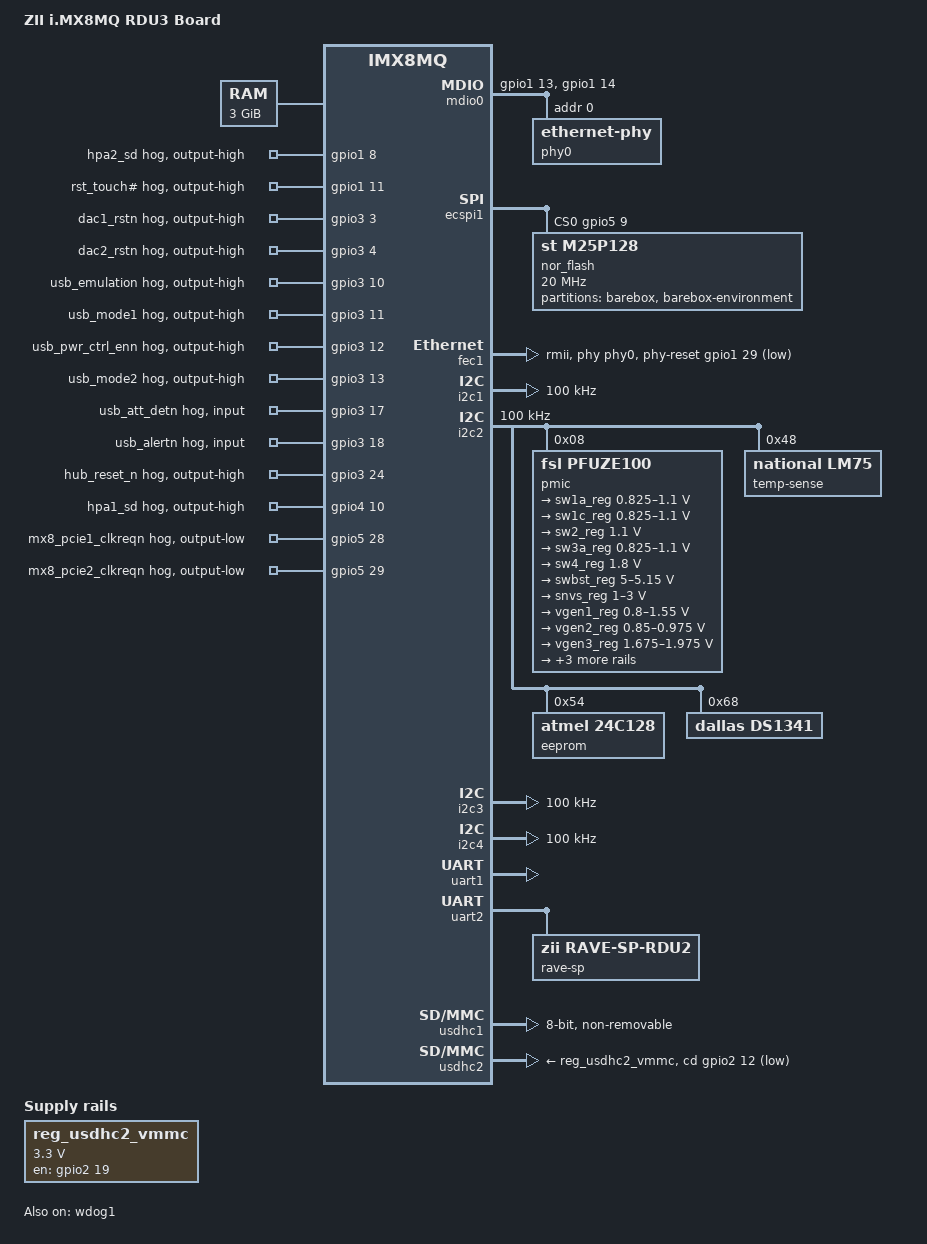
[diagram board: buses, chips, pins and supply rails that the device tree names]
// SPDX-License-Identifier: (GPL-2.0 OR MIT)
/*
 * Copyright 2017 NXP
 * Copyright (C) 2017 Pengutronix, Lucas Stach <kernel@pengutronix.de>
 */

/dts-v1/;

#include <arm64/freescale/imx8mq.dtsi>

#include "imx8mq.dtsi"

/ {
	model = "ZII i.MX8MQ RDU3 Board";
	compatible = "zii,imx8mq-rdu3", "fsl,imx8mq";

	chosen {
		stdout-path = &uart1;

		environment {
			compatible = "barebox,environment";
			device-path = &nor_flash, "partname:barebox-environment";
		};
	};

	memory@40000000 {
		device_type = "memory";
		reg = <0x00000000 0x40000000 0 0xc0000000>;
	};

	mdio0: bitbang-mdio {
		compatible = "virtual,mdio-gpio";
		pinctrl-names = "default";
		pinctrl-0 = <&pinctrl_bitbang_mdc>, <&pinctrl_bitbang_mdio>;
		gpios = <&gpio1 13 GPIO_ACTIVE_HIGH>, /* MDC */
			<&gpio1 14 GPIO_ACTIVE_HIGH>; /* MDIO */
		#address-cells = <1>;
		#size-cells = <0>;

		phy0: ethernet-phy@0 {
			reg = <0>;
			device_type = "ethernet-phy";
		};
	};

	reg_usdhc2_vmmc: regulator-vsd-3v3 {
		pinctrl-names = "default";
		pinctrl-0 = <&pinctrl_reg_usdhc2>;
		compatible = "regulator-fixed";
		regulator-name = "VSD_3V3";
		regulator-min-microvolt = <3300000>;
		regulator-max-microvolt = <3300000>;
		gpio = <&gpio2 19 GPIO_ACTIVE_HIGH>;
		enable-active-high;
	};
};

&ecspi1 {
	pinctrl-names = "default";
	pinctrl-0 = <&pinctrl_ecspi1_cs>, <&pinctrl_ecspi1_out>,
		    <&pinctrl_ecspi1_in>;
	cs-gpios = <&gpio5 9 GPIO_ACTIVE_HIGH>;
	status = "okay";
	#address-cells = <1>;
	#size-cells = <0>;

	nor_flash: flash@0 {
		compatible = "st,m25p128", "jedec,spi-nor";
		spi-max-frequency = <20000000>;
		reg = <0>;

		#address-cells = <1>;
		#size-cells = <1>;

		partition@0 {
			label = "barebox";
			reg = <0x0 0xc0000>;
		};

		partition@c0000 {
			label = "barebox-environment";
			reg = <0xc0000 0x40000>;
		};
	};
};

&fec1 {
	pinctrl-names = "default";
	pinctrl-0 = <&pinctrl_fec1_mdc>, <&pinctrl_fec1_mdio>,
	            <&pinctrl_fec1_data_tx>, <&pinctrl_fec1_data_rx>,
		    <&pinctrl_fec1_phy_reset>;

	phy-handle = <&phy0>;
	phy-mode = "rmii";
	phy-reset-gpios = <&gpio1 29 GPIO_ACTIVE_LOW>;
	status = "okay";
};

&gpio1 {
	hpa2-sd {
		gpio-hog;
		gpios = <8 GPIO_ACTIVE_HIGH>;
		output-high;
		line-name = "hpa2_sd";
	};

	rst-touch {
		gpio-hog;
		gpios = <11 GPIO_ACTIVE_HIGH>;
		output-high;
		line-name = "rst_touch#";
	};
};

&gpio3 {
	dac1-rstn {
		gpio-hog;
		gpios = <3 GPIO_ACTIVE_HIGH>;
		output-high;
		line-name = "dac1_rstn";
	};

	dac2-rstn {
		gpio-hog;
		gpios = <4 GPIO_ACTIVE_HIGH>;
		output-high;
		line-name = "dac2_rstn";
	};

	usb-emulation {
		gpio-hog;
		gpios = <10 GPIO_ACTIVE_HIGH>;
		output-high;
		line-name = "usb_emulation";
	};

	usb-mode1 {
		gpio-hog;
		gpios = <11 GPIO_ACTIVE_HIGH>;
		output-high;
		line-name = "usb_mode1";
	};

	usb-pwr-ctrl-enn {
		gpio-hog;
		gpios = <12 GPIO_ACTIVE_HIGH>;
		output-high;
		line-name = "usb_pwr_ctrl_enn";
	};

	usb-mode2 {
		gpio-hog;
		gpios = <13 GPIO_ACTIVE_HIGH>;
		output-high;
		line-name = "usb_mode2";
	};

	usb-att-detn {
		gpio-hog;
		gpios = <17 GPIO_ACTIVE_HIGH>;
		input;
		line-name = "usb_att_detn";
	};

	usb-alert {
		gpio-hog;
		gpios = <18 GPIO_ACTIVE_HIGH>;
		input;
		line-name = "usb_alertn";
	};

	hub-reset {
		gpio-hog;
		gpios = <24 GPIO_ACTIVE_HIGH>;
		input;
		output-high;
		line-name = "hub_reset_n";
	};
};

&gpio4 {
	hpa1-sd {
		gpio-hog;
		gpios = <10 GPIO_ACTIVE_HIGH>;
		output-high;
		line-name = "hpa1_sd";
	};
};

&gpio5 {
	mx8-pcie1-clkreqn {
		gpio-hog;
		gpios = <28 GPIO_ACTIVE_HIGH>;
		output-low;
		line-name = "mx8_pcie1_clkreqn";
	};

	mx8-pcie2-clkreqn {
		gpio-hog;
		gpios = <29 GPIO_ACTIVE_HIGH>;
		output-low;
		line-name = "mx8_pcie2_clkreqn";
	};
};

&i2c1 {
	clock-frequency = <100000>;
	pinctrl-names = "default";
	pinctrl-0 = <&pinctrl_i2c1>;
	status = "okay";
};

&i2c2 {
	clock-frequency = <100000>;
	pinctrl-names = "default";
	pinctrl-0 = <&pinctrl_i2c2>;
	status = "okay";

	pmic@8 {
		compatible = "fsl,pfuze100";
		reg = <0x8>;

		regulators {
			sw1a_reg: sw1ab {
				regulator-min-microvolt = <825000>;
				regulator-max-microvolt = <1100000>;
			};

			sw1c_reg: sw1c {
				regulator-min-microvolt = <825000>;
				regulator-max-microvolt = <1100000>;
			};

			sw2_reg: sw2 {
				regulator-min-microvolt = <1100000>;
				regulator-max-microvolt = <1100000>;
				regulator-always-on;
			};

			sw3a_reg: sw3ab {
				regulator-min-microvolt = <825000>;
				regulator-max-microvolt = <1100000>;
				regulator-always-on;
			};

			sw4_reg: sw4 {
				regulator-min-microvolt = <1800000>;
				regulator-max-microvolt = <1800000>;
				regulator-always-on;
			};

			swbst_reg: swbst {
				regulator-min-microvolt = <5000000>;
				regulator-max-microvolt = <5150000>;
			};

			snvs_reg: vsnvs {
				regulator-min-microvolt = <1000000>;
				regulator-max-microvolt = <3000000>;
				regulator-always-on;
			};

			vref_reg: vrefddr {
				regulator-always-on;
			};

			vgen1_reg: vgen1 {
				regulator-min-microvolt = <800000>;
				regulator-max-microvolt = <1550000>;
			};

			vgen2_reg: vgen2 {
				regulator-min-microvolt = <850000>;
				regulator-max-microvolt = <975000>;
				regulator-always-on;
			};

			vgen3_reg: vgen3 {
				regulator-min-microvolt = <1675000>;
				regulator-max-microvolt = <1975000>;
				regulator-always-on;
			};

			vgen4_reg: vgen4 {
				regulator-min-microvolt = <1625000>;
				regulator-max-microvolt = <1875000>;
				regulator-always-on;
			};

			vgen5_reg: vgen5 {
				regulator-min-microvolt = <3075000>;
				regulator-max-microvolt = <3625000>;
				regulator-always-on;
			};

			vgen6_reg: vgen6 {
				regulator-min-microvolt = <1800000>;
				regulator-max-microvolt = <3300000>;
			};
		};
	};

	temp-sense@48 {
		compatible = "national,lm75";
		reg = <0x48>;
	};

	eeprom@54 {
		compatible = "atmel,24c128";
		reg = <0x54>;
	};

	ds1341: rtc@68 {
		compatible = "dallas,ds1341";
		reg = <0x68>;
	};
};

&i2c3 {
	clock-frequency = <100000>;
	pinctrl-names = "default";
	pinctrl-0 = <&pinctrl_i2c3>;
	status = "okay";
};

&i2c4 {
	clock-frequency = <100000>;
	pinctrl-names = "default";
	pinctrl-0 = <&pinctrl_i2c4>;
	status = "okay";
};

&ocotp {
	barebox,provide-mac-address = <&fec1 0x640>;
};

&uart1 {
	pinctrl-names = "default";
	pinctrl-0 = <&pinctrl_uart1>;
	status = "okay";
};

&uart2 {
	pinctrl-names = "default";
	pinctrl-0 = <&pinctrl_uart2>;
	status = "okay";

	rave-sp {
		compatible = "zii,rave-sp-rdu2";
		current-speed = <1000000>;
		#address-cells = <1>;
		#size-cells = <1>;

		watchdog {
			compatible = "zii,rave-sp-watchdog";
		};

		main_eeprom: eeprom@a4 {
			compatible = "zii,rave-sp-eeprom";
			reg = <0xa4 0x4000>;
			#address-cells = <1>;
			#size-cells = <1>;
			zii,eeprom-name = "main-eeprom";
		};
	};
};

&usdhc1 {
	pinctrl-names = "default", "state_100mhz", "state_200mhz";
	pinctrl-0 = <&pinctrl_usdhc1_cd_reset>, <&pinctrl_usdhc1_clk_strobe>,
	            <&pinctrl_usdhc1_data>;
	pinctrl-1 = <&pinctrl_usdhc1_cd_reset>,
	            <&pinctrl_usdhc1_clk_strobe_100mhz>,
	            <&pinctrl_usdhc1_data_100mhz>;
	pinctrl-2 = <&pinctrl_usdhc1_cd_reset>,
	            <&pinctrl_usdhc1_clk_strobe_200mhz>,
	            <&pinctrl_usdhc1_data_200mhz>;
	vqmmc-supply = <&sw4_reg>;
	bus-width = <8>;
	non-removable;
	no-sd;
	no-sdio;
	status = "okay";
};

&usdhc2 {
	pinctrl-names = "default", "state_100mhz", "state_200mhz";
	pinctrl-0 = <&pinctrl_usdhc2_vselect>, <&pinctrl_usdhc2_clk>,
	            <&pinctrl_usdhc2_data>;
	pinctrl-1 = <&pinctrl_usdhc2_vselect>, <&pinctrl_usdhc2_clk_100mhz>,
	            <&pinctrl_usdhc2_data_100mhz>;
	pinctrl-2 = <&pinctrl_usdhc2_vselect>, <&pinctrl_usdhc2_clk_200mhz>,
	            <&pinctrl_usdhc2_data_200mhz>;
	cd-gpios = <&gpio2 12 GPIO_ACTIVE_LOW>;
	vmmc-supply = <&reg_usdhc2_vmmc>;
	status = "okay";
};

&wdog1 {
	pinctrl-names = "default";
	pinctrl-0 = <&pinctrl_wdog>;
	fsl,ext-reset-output;
	status = "okay";
};

&iomuxc {
	pinctrl-names = "default";
	pinctrl-0 = <&pinctrl_pcie_clkreq>, <&pinctrl_dac_reset>,
		    <&pinctrl_usb_control_out>, <&pinctrl_usb_control_in>,
		    <&pinctrl_hpa_sd>, <&pinctrl_rst_touch>,
		    <&pinctrl_hub_reset>;

	pinctrl_bitbang_mdio: bitbangmdiogrp {
		pinmux = <MX8MQ_IOMUXC_GPIO1_IO13_GPIO1_IO13>;
		drive-strength = <3>;
		slew-rate = <0>;
		drive-open-drain;
	};

	pinctrl_bitbang_mdc: bitbangmdcgrp {
		pinmux = <MX8MQ_IOMUXC_GPIO1_IO14_GPIO1_IO14>;
		drive-strength = <3>;
		slew-rate = <0>;
	};

	pinctrl_fec1_mdc: fec1mdcgrp {
		pinmux = <MX8MQ_IOMUXC_ENET_MDC_ENET1_MDC>;
		drive-strength = <3>;
		slew-rate = <0>;
	};

	pinctrl_fec1_mdio: fec1mdiogrp {
		pinmux = <MX8MQ_IOMUXC_ENET_MDIO_ENET1_MDIO>;
		drive-strength = <3>;
		slew-rate = <0>;
		drive-open-drain;
	};

	pinctrl_fec1_phy_reset: fec1event0outgrp {
		pinmux = <MX8MQ_IOMUXC_ENET_RD3_GPIO1_IO29>;
		drive-strength = <3>;
		slew-rate = <0>;
		input-enable;
	};

	pinctrl_ecspi1_cs: ecspi1csgrp {
		pinmux = <MX8MQ_IOMUXC_ECSPI1_SS0_GPIO5_IO9>;
		drive-strength = <3>;
		slew-rate = <0>;
	};

	pinctrl_ecspi1_out: ecspi1outgrp {
		pinmux = <
			MX8MQ_IOMUXC_ECSPI1_MOSI_ECSPI1_MOSI
			MX8MQ_IOMUXC_ECSPI1_SCLK_ECSPI1_SCLK
		>;
		drive-strength = <7>;
		slew-rate = <3>;
	};

	pinctrl_ecspi1_in: ecspi1ingrp {
		pinmux = <MX8MQ_IOMUXC_ECSPI1_MISO_ECSPI1_MISO>;
		drive-strength = <1>;
		slew-rate = <2>;
		input-schmitt-enable;
	};

	pinctrl_fec1_data_tx: fec1datatxgrp {
		pinmux = <
		        MX8MQ_IOMUXC_GPIO1_IO09_ENET1_1588_EVENT0_OUT
			MX8MQ_IOMUXC_ENET_TD2_ENET1_TX_CLK
			MX8MQ_IOMUXC_ENET_TD1_ENET1_RGMII_TD1
			MX8MQ_IOMUXC_ENET_TD0_ENET1_RGMII_TD0
			MX8MQ_IOMUXC_ENET_TX_CTL_ENET1_RGMII_TX_CTL
		>;
		drive-strength = <7>;
		slew-rate = <3>;
	};

	pinctrl_fec1_data_rx: fec1datarxgrp {
		pinmux = <
			MX8MQ_IOMUXC_ENET_RD2_GPIO1_IO28
			MX8MQ_IOMUXC_ENET_RD1_ENET1_RGMII_RD1
			MX8MQ_IOMUXC_ENET_RD0_ENET1_RGMII_RD0
			MX8MQ_IOMUXC_ENET_RXC_ENET1_RX_ER
			MX8MQ_IOMUXC_ENET_RX_CTL_ENET1_RGMII_RX_CTL
		>;
		drive-strength = <1>;
		slew-rate = <2>;
		input-schmitt-enable;
	};

	pinctrl_hpa_sd: hpasdgrp {
		pinmux = <
			MX8MQ_IOMUXC_SAI1_TXFS_GPIO4_IO10
			MX8MQ_IOMUXC_GPIO1_IO09_GPIO1_IO9
		>;
		drive-strength = <3>;
		slew-rate = <0>;
		input-enable;
	};

	pinctrl_hub_reset: hubresetgrp {
		pinmux = <
			MX8MQ_IOMUXC_SAI5_MCLK_GPIO3_IO25
		>;
		drive-strength = <3>;
		slew-rate = <0>;
		input-enable;
	};

	pinctrl_i2c1: i2c1grp {
		pinmux = <
			MX8MQ_IOMUXC_I2C1_SCL_I2C1_SCL
			MX8MQ_IOMUXC_I2C1_SDA_I2C1_SDA
		>;
		drive-strength = <7>;
		slew-rate = <0>;
		drive-open-drain;
		input-enable;
	};

	pinctrl_i2c2: i2c2grp {
		pinmux = <
			MX8MQ_IOMUXC_I2C2_SCL_I2C2_SCL
			MX8MQ_IOMUXC_I2C2_SDA_I2C2_SDA
		>;
		drive-strength = <7>;
		slew-rate = <0>;
		drive-open-drain;
		input-enable;
	};

	pinctrl_i2c3: i2c3grp {
		pinmux = <
			MX8MQ_IOMUXC_I2C3_SCL_I2C3_SCL
			MX8MQ_IOMUXC_I2C3_SDA_I2C3_SDA
		>;
		drive-strength = <7>;
		slew-rate = <0>;
		drive-open-drain;
		input-enable;
	};

	pinctrl_i2c4: i2c4grp {
		pinmux = <
			MX8MQ_IOMUXC_I2C4_SCL_I2C4_SCL
			MX8MQ_IOMUXC_I2C4_SDA_I2C4_SDA
		>;
		drive-strength = <7>;
		slew-rate = <0>;
		drive-open-drain;
		input-enable;
	};

	pinctrl_pcie_clkreq: pcieclkreqgrp {
		pinmux = <
			MX8MQ_IOMUXC_UART4_RXD_GPIO5_IO28
			MX8MQ_IOMUXC_UART4_TXD_GPIO5_IO29
		>;
		drive-strength = <3>;
		slew-rate = <0>;
		input-enable;
	};

	pinctrl_dac_reset: dacresetgrp {
		pinmux = <
			MX8MQ_IOMUXC_NAND_CE2_B_GPIO3_IO3
			MX8MQ_IOMUXC_NAND_CE3_B_GPIO3_IO4
		>;
		drive-strength = <3>;
		slew-rate = <0>;
		input-enable;
		drive-open-drain;
	};

	pinctrl_reg_usdhc2: regusdhc2grpgpio {
		pinmux = <MX8MQ_IOMUXC_SD2_RESET_B_GPIO2_IO19>;
		drive-strength = <1>;
		slew-rate = <0>;
		bias-pull-up;
	};

	pinctrl_rst_touch: rsttouchgrp {
		pinmux = <
			MX8MQ_IOMUXC_GPIO1_IO11_GPIO1_IO11
		>;
		drive-strength = <3>;
		slew-rate = <0>;
		input-enable;
	};

	pinctrl_uart1: uart1grp {
		pinmux = <
			MX8MQ_IOMUXC_UART1_RXD_UART1_DCE_RX
			MX8MQ_IOMUXC_UART1_TXD_UART1_DCE_TX
		>;
		drive-strength = <1>;
		slew-rate = <0>;
		bias-pull-up;
	};

	pinctrl_uart2: uart2grp {
		pinmux = <
			MX8MQ_IOMUXC_UART2_RXD_UART2_DCE_RX
			MX8MQ_IOMUXC_UART2_TXD_UART2_DCE_TX
		>;
		drive-strength = <1>;
		slew-rate = <0>;
		bias-pull-up;
	};

	pinctrl_usb_control_out: usbcontroloutgrp {
		pinmux = <
			MX8MQ_IOMUXC_NAND_DATA04_GPIO3_IO10
			MX8MQ_IOMUXC_NAND_DATA05_GPIO3_IO11
			MX8MQ_IOMUXC_NAND_DATA06_GPIO3_IO12
			MX8MQ_IOMUXC_NAND_DATA07_GPIO3_IO13
		>;
		drive-strength = <3>;
		slew-rate = <0>;
		input-enable;
	};

	pinctrl_usb_control_in: usbcontrolingrp {
		pinmux = <
			MX8MQ_IOMUXC_NAND_WE_B_GPIO3_IO17
			MX8MQ_IOMUXC_NAND_WP_B_GPIO3_IO18
		>;
		drive-strength = <3>;
		slew-rate = <0>;
	};	

	pinctrl_usdhc1_cd_reset: usdhc1cdgrp {
		pinmux = <
			MX8MQ_IOMUXC_SD2_CD_B_GPIO2_IO12
			MX8MQ_IOMUXC_SD1_RESET_B_USDHC1_RESET_B
			>;
		drive-strength = <1>;
		slew-rate = <0>;
		bias-pull-up;
	};

	pinctrl_usdhc1_clk_strobe: usdhc1clkgrp {
		pinmux = <
			MX8MQ_IOMUXC_SD1_CLK_USDHC1_CLK
			MX8MQ_IOMUXC_SD1_STROBE_USDHC1_STROBE
			>;
		drive-strength = <3>;
		slew-rate = <0>;
	};

	pinctrl_usdhc1_data: usdhc1datagrp {
		pinmux = <
			MX8MQ_IOMUXC_SD1_CMD_USDHC1_CMD
			MX8MQ_IOMUXC_SD1_DATA0_USDHC1_DATA0
			MX8MQ_IOMUXC_SD1_DATA1_USDHC1_DATA1
			MX8MQ_IOMUXC_SD1_DATA2_USDHC1_DATA2
			MX8MQ_IOMUXC_SD1_DATA3_USDHC1_DATA3
			MX8MQ_IOMUXC_SD1_DATA4_USDHC1_DATA4
			MX8MQ_IOMUXC_SD1_DATA5_USDHC1_DATA5
			MX8MQ_IOMUXC_SD1_DATA6_USDHC1_DATA6
			MX8MQ_IOMUXC_SD1_DATA7_USDHC1_DATA7
			>;
		drive-strength = <3>;
		slew-rate = <0>;
		bias-pull-up;
		input-schmitt-enable;
	};

	pinctrl_usdhc1_clk_strobe_100mhz: usdhc1clk100grp {
		pinmux = <
			MX8MQ_IOMUXC_SD1_CLK_USDHC1_CLK
			MX8MQ_IOMUXC_SD1_STROBE_USDHC1_STROBE
			>;
		drive-strength = <3>;
		slew-rate = <0>;
	};

	pinctrl_usdhc1_data_100mhz: usdhc1data100grp {
		pinmux = <
			MX8MQ_IOMUXC_SD1_CMD_USDHC1_CMD
			MX8MQ_IOMUXC_SD1_DATA0_USDHC1_DATA0
			MX8MQ_IOMUXC_SD1_DATA1_USDHC1_DATA1
			MX8MQ_IOMUXC_SD1_DATA2_USDHC1_DATA2
			MX8MQ_IOMUXC_SD1_DATA3_USDHC1_DATA3
			MX8MQ_IOMUXC_SD1_DATA4_USDHC1_DATA4
			MX8MQ_IOMUXC_SD1_DATA5_USDHC1_DATA5
			MX8MQ_IOMUXC_SD1_DATA6_USDHC1_DATA6
			MX8MQ_IOMUXC_SD1_DATA7_USDHC1_DATA7
			>;
		drive-strength = <5>;
		slew-rate = <1>;
		bias-pull-up;
		input-schmitt-enable;
	};

	pinctrl_usdhc1_clk_strobe_200mhz: usdhc1clk200grp {
		pinmux = <
			MX8MQ_IOMUXC_SD1_CLK_USDHC1_CLK
			MX8MQ_IOMUXC_SD1_STROBE_USDHC1_STROBE
			>;
		drive-strength = <7>;
		slew-rate = <3>;
	};

	pinctrl_usdhc1_data_200mhz: usdhc1data200grp {
		pinmux = <
			MX8MQ_IOMUXC_SD1_CMD_USDHC1_CMD
			MX8MQ_IOMUXC_SD1_DATA0_USDHC1_DATA0
			MX8MQ_IOMUXC_SD1_DATA1_USDHC1_DATA1
			MX8MQ_IOMUXC_SD1_DATA2_USDHC1_DATA2
			MX8MQ_IOMUXC_SD1_DATA3_USDHC1_DATA3
			MX8MQ_IOMUXC_SD1_DATA4_USDHC1_DATA4
			MX8MQ_IOMUXC_SD1_DATA5_USDHC1_DATA5
			MX8MQ_IOMUXC_SD1_DATA6_USDHC1_DATA6
			MX8MQ_IOMUXC_SD1_DATA7_USDHC1_DATA7
			>;
		drive-strength = <7>;
		slew-rate = <3>;
		bias-pull-up;
		input-schmitt-enable;
	};

	pinctrl_usdhc2_vselect: usdhc2vselectgrp {
		pinmux = <MX8MQ_IOMUXC_GPIO1_IO04_USDHC2_VSELECT>;
		drive-strength = <1>;
		slew-rate = <0>;
		bias-pull-up;
	};

	pinctrl_usdhc2_clk: usdhc2clkgrp {
		pinmux = <MX8MQ_IOMUXC_SD2_CLK_USDHC2_CLK>;
		drive-strength = <3>;
		slew-rate = <0>;
	};

	pinctrl_usdhc2_data: usdhc2datagrp {
		pinmux = <
			MX8MQ_IOMUXC_SD2_CMD_USDHC2_CMD
			MX8MQ_IOMUXC_SD2_DATA0_USDHC2_DATA0
			MX8MQ_IOMUXC_SD2_DATA1_USDHC2_DATA1
			MX8MQ_IOMUXC_SD2_DATA2_USDHC2_DATA2
			MX8MQ_IOMUXC_SD2_DATA3_USDHC2_DATA3
			>;
		drive-strength = <3>;
		slew-rate = <0>;
		bias-pull-up;
		input-schmitt-enable;
	};

	pinctrl_usdhc2_clk_100mhz: usdhc2clk100grp {
		pinmux = <MX8MQ_IOMUXC_SD2_CLK_USDHC2_CLK>;
		drive-strength = <5>;
		slew-rate = <1>;
	};

	pinctrl_usdhc2_data_100mhz: usdhc2data100grp {
		pinmux = <
			MX8MQ_IOMUXC_SD2_CMD_USDHC2_CMD
			MX8MQ_IOMUXC_SD2_DATA0_USDHC2_DATA0
			MX8MQ_IOMUXC_SD2_DATA1_USDHC2_DATA1
			MX8MQ_IOMUXC_SD2_DATA2_USDHC2_DATA2
			MX8MQ_IOMUXC_SD2_DATA3_USDHC2_DATA3
			>;
		drive-strength = <5>;
		slew-rate = <1>;
		bias-pull-up;
		input-schmitt-enable;
	};

	pinctrl_usdhc2_clk_200mhz: usdhc2clk200grp {
		pinmux = <MX8MQ_IOMUXC_SD2_CLK_USDHC2_CLK>;
		drive-strength = <7>;
		slew-rate = <3>;
	};

	pinctrl_usdhc2_data_200mhz: usdhc2data200grp {
		pinmux = <
			MX8MQ_IOMUXC_SD2_CMD_USDHC2_CMD
			MX8MQ_IOMUXC_SD2_DATA0_USDHC2_DATA0
			MX8MQ_IOMUXC_SD2_DATA1_USDHC2_DATA1
			MX8MQ_IOMUXC_SD2_DATA2_USDHC2_DATA2
			MX8MQ_IOMUXC_SD2_DATA3_USDHC2_DATA3
			>;
		drive-strength = <7>;
		slew-rate = <3>;
		bias-pull-up;
		input-schmitt-enable;
	};

	pinctrl_wdog: wdoggrp {
		pinmux = <MX8MQ_IOMUXC_GPIO1_IO02_WDOG1_WDOG_B>;
		drive-strength = <6>;
		slew-rate = <0>;
		bias-pull-up;
	};
};
